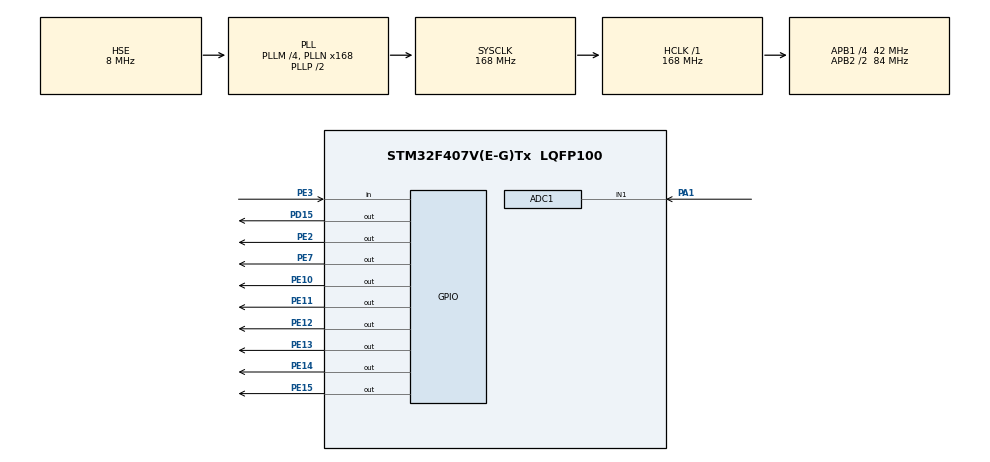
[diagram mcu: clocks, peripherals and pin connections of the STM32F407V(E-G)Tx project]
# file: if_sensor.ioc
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ADC1.Channel-2\#ChannelRegularConversion=ADC_CHANNEL_1
ADC1.NbrOfConversion=1
ADC1.NbrOfConversionFlag=1
ADC1.Rank-2\#ChannelRegularConversion=1
ADC1.SamplingTime-2\#ChannelRegularConversion=ADC_SAMPLETIME_3CYCLES
ADC1.master=1
Mcu.Family=STM32F4
Mcu.Name=STM32F407V(E-G)Tx
Mcu.Package=LQFP100
NVIC.ADC_IRQn=true\:0\:0\:false\:false\:true\:true\:true
NVIC.PriorityGroup=NVIC_PRIORITYGROUP_4
PA1.Signal=ADCx_IN1
PD15.Signal=GPIO_Output
PE10.GPIO_Speed=GPIO_SPEED_FREQ_MEDIUM
PE10.Signal=GPIO_Output
PE11.GPIO_Speed=GPIO_SPEED_FREQ_MEDIUM
PE11.Signal=GPIO_Output
PE12.GPIO_Speed=GPIO_SPEED_FREQ_MEDIUM
PE12.Signal=GPIO_Output
PE13.GPIO_Speed=GPIO_SPEED_FREQ_MEDIUM
PE13.Signal=GPIO_Output
PE14.GPIO_Speed=GPIO_SPEED_FREQ_MEDIUM
PE14.Signal=GPIO_Output
PE15.Signal=GPIO_Output
PE2.Signal=GPIO_Output
PE3.Signal=GPIO_Input
PE7.GPIO_Speed=GPIO_SPEED_FREQ_MEDIUM
PE7.Signal=GPIO_Output
PH0-OSC_IN.Mode=HSE-External-Oscillator
PH0-OSC_IN.Signal=RCC_OSC_IN
PH1-OSC_OUT.Mode=HSE-External-Oscillator
PH1-OSC_OUT.Signal=RCC_OSC_OUT
ProjectManager.HeapSize=0x200
ProjectManager.StackSize=0x400
ProjectManager.TargetToolchain=STM32CubeIDE
RCC.48MHZClocksFreq_Value=84000000
RCC.AHBFreq_Value=168000000
RCC.APB1CLKDivider=RCC_HCLK_DIV4
RCC.APB1Freq_Value=42000000
RCC.APB1TimFreq_Value=84000000
RCC.APB2CLKDivider=RCC_HCLK_DIV2
RCC.APB2Freq_Value=84000000
RCC.APB2TimFreq_Value=168000000
RCC.CortexFreq_Value=168000000
RCC.HCLKFreq_Value=168000000
RCC.HSE_VALUE=8000000
RCC.HSI_VALUE=16000000
RCC.LSE_VALUE=32768
RCC.PLLM=4
RCC.PLLN=168
RCC.PLLSourceVirtual=RCC_PLLSOURCE_HSE
RCC.SYSCLKFreq_VALUE=168000000
RCC.SYSCLKSource=RCC_SYSCLKSOURCE_PLLCLK
RCC.VCOOutputFreq_Value=336000000
SH.ADCx_IN1.0=ADC1_IN1,IN1
TIM6.AutoReloadPreload=TIM_AUTORELOAD_PRELOAD_ENABLE
TIM6.Prescaler=83
VP_TIM6_VS_ClockSourceINT.Mode=Enable_Timer
board=custom

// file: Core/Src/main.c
/* USER CODE BEGIN Header */
/**
  ******************************************************************************
  * @file           : main.c
  * @brief          : Main program body
  ******************************************************************************
  * @attention
  *
  * <h2><center>&copy; Copyright (c) 2021 STMicroelectronics.
  * All rights reserved.</center></h2>
  *
  * This software component is licensed by ST under BSD 3-Clause license,
  * the "License"; You may not use this file except in compliance with the
  * License. You may obtain a copy of the License at:
  *                        opensource.org/licenses/BSD-3-Clause
  *
  ******************************************************************************
  */
/* USER CODE END Header */
#include "main.h"

/* USER CODE BEGIN Includes */
#include "ir_sensor.h"
#include "acoustic_sensor.h"
#include "delay.h"
#include "lcd.h"
#include <string.h>
#include <stm32f4xx_hal.h>
/* USER CODE END Includes */

ADC_HandleTypeDef hadc1;

TIM_HandleTypeDef htim6;

/* USER CODE BEGIN PV */
volatile uint16_t u16_ir_dist = 0xFFFF;
volatile uint16_t u16_ac_dist = 0xFFFF;
/* USER CODE END PV */

void SystemClock_Config(void);
static void MX_GPIO_Init(void);
static void MX_ADC1_Init(void);
static void MX_TIM6_Init(void);

int main(void)
{

  /* MCU Configuration--------------------------------------------------------*/

  /* Reset of all peripherals, Initializes the Flash interface and the Systick. */
  HAL_Init();

  /* Configure the system clock */
  SystemClock_Config();

  /* Initialize all configured peripherals */
  MX_GPIO_Init();
  MX_ADC1_Init();
  MX_TIM6_Init();
  /* USER CODE BEGIN 2 */
  //ir_sensor_t obj_ir_sensor;
  //acoustic_sensor_t obj_ac_sensor;
  lcd_obj_t obj_lcd;
  delay_init(&htim6);
  //ir_sensor_init(&obj_ir_sensor, &hadc1);
  //ir_sensor_start(&obj_ir_sensor);
  //acoustic_sensor_init(&obj_ac_sensor, GPIOE, GPIO_PIN_2, GPIOE, GPIO_PIN_3);
  //acoustic_sensor_start(&obj_ac_sensor);
  lcd_init(&obj_lcd, GPIOE, GPIO_PIN_12, GPIO_PIN_13, GPIO_PIN_14, GPIO_PIN_15, GPIO_PIN_11, GPIO_PIN_10, GPIO_PIN_7);
  lcd_write_string(&obj_lcd, "Hello");
  uint32_t u32L_seconds_timer = delay_get_ms_tick();
  uint32_t u32L_10_times_per_seconds_timer = delay_get_ms_tick();
  uint32_t u32L_100_times_per_seconds_timer = delay_get_ms_tick();
  /* USER CODE END 2 */

  /* Infinite loop */
  /* USER CODE BEGIN WHILE */
  while (1)
  {
	//ir_sensor_run(&obj_ir_sensor);
	//acoustic_sensor_run(&obj_ac_sensor);
	lcd_run(&obj_lcd);
	uint32_t u32L_crnt_time = delay_get_ms_tick();

	if (u32L_crnt_time - u32L_100_times_per_seconds_timer > 10)
	{
		//ir_sensor_start(&obj_ir_sensor);
		u32L_100_times_per_seconds_timer = u32L_crnt_time;
	}

	if (u32L_crnt_time - u32L_10_times_per_seconds_timer > 100)
	{
		//ir_sensor_start(&obj_ir_sensor);
		//acoustic_sensor_start(&obj_ac_sensor);

		u32L_10_times_per_seconds_timer = u32L_crnt_time;
	}

	if (u32L_crnt_time - u32L_seconds_timer > 1000)
	{
		u32L_seconds_timer = u32L_crnt_time;

		//u16_ir_dist = ir_sensor_get_distance(&obj_ir_sensor);
		//u16_ac_dist = acoustic_sensor_get_distance(&obj_ac_sensor);
		HAL_GPIO_TogglePin(GPIOD, GPIO_PIN_15);
		lcd_write_string(&obj_lcd, "H");
	}
    /* USER CODE END WHILE */

  }
}

void SystemClock_Config(void)
{
  RCC_OscInitTypeDef RCC_OscInitStruct = {0};
  RCC_ClkInitTypeDef RCC_ClkInitStruct = {0};

  /** Configure the main internal regulator output voltage
  */
  __HAL_RCC_PWR_CLK_ENABLE();
  __HAL_PWR_VOLTAGESCALING_CONFIG(PWR_REGULATOR_VOLTAGE_SCALE1);
  /** Initializes the RCC Oscillators according to the specified parameters
  * in the RCC_OscInitTypeDef structure.
  */
  RCC_OscInitStruct.OscillatorType = RCC_OSCILLATORTYPE_HSE;
  RCC_OscInitStruct.HSEState = RCC_HSE_ON;
  RCC_OscInitStruct.PLL.PLLState = RCC_PLL_ON;
  RCC_OscInitStruct.PLL.PLLSource = RCC_PLLSOURCE_HSE;
  RCC_OscInitStruct.PLL.PLLM = 4;
  RCC_OscInitStruct.PLL.PLLN = 168;
  RCC_OscInitStruct.PLL.PLLP = RCC_PLLP_DIV2;
  RCC_OscInitStruct.PLL.PLLQ = 4;
  if (HAL_RCC_OscConfig(&RCC_OscInitStruct) != HAL_OK)
  {
    Error_Handler();
  }
  /** Initializes the CPU, AHB and APB buses clocks
  */
  RCC_ClkInitStruct.ClockType = RCC_CLOCKTYPE_HCLK|RCC_CLOCKTYPE_SYSCLK
                              |RCC_CLOCKTYPE_PCLK1|RCC_CLOCKTYPE_PCLK2;
  RCC_ClkInitStruct.SYSCLKSource = RCC_SYSCLKSOURCE_PLLCLK;
  RCC_ClkInitStruct.AHBCLKDivider = RCC_SYSCLK_DIV1;
  RCC_ClkInitStruct.APB1CLKDivider = RCC_HCLK_DIV4;
  RCC_ClkInitStruct.APB2CLKDivider = RCC_HCLK_DIV2;

  if (HAL_RCC_ClockConfig(&RCC_ClkInitStruct, FLASH_LATENCY_5) != HAL_OK)
  {
    Error_Handler();
  }
}

static void MX_ADC1_Init(void)
{

  ADC_ChannelConfTypeDef sConfig = {0};

  /** Configure the global features of the ADC (Clock, Resolution, Data Alignment and number of conversion)
  */
  hadc1.Instance = ADC1;
  hadc1.Init.ClockPrescaler = ADC_CLOCK_SYNC_PCLK_DIV4;
  hadc1.Init.Resolution = ADC_RESOLUTION_12B;
  hadc1.Init.ScanConvMode = DISABLE;
  hadc1.Init.ContinuousConvMode = DISABLE;
  hadc1.Init.DiscontinuousConvMode = DISABLE;
  hadc1.Init.ExternalTrigConvEdge = ADC_EXTERNALTRIGCONVEDGE_NONE;
  hadc1.Init.ExternalTrigConv = ADC_SOFTWARE_START;
  hadc1.Init.DataAlign = ADC_DATAALIGN_RIGHT;
  hadc1.Init.NbrOfConversion = 1;
  hadc1.Init.DMAContinuousRequests = DISABLE;
  hadc1.Init.EOCSelection = ADC_EOC_SINGLE_CONV;
  if (HAL_ADC_Init(&hadc1) != HAL_OK)
  {
    Error_Handler();
  }
  /** Configure for the selected ADC regular channel its corresponding rank in the sequencer and its sample time.
  */
  sConfig.Channel = ADC_CHANNEL_1;
  sConfig.Rank = 1;
  sConfig.SamplingTime = ADC_SAMPLETIME_3CYCLES;
  if (HAL_ADC_ConfigChannel(&hadc1, &sConfig) != HAL_OK)
  {
    Error_Handler();
  }

}

static void MX_TIM6_Init(void)
{

  TIM_MasterConfigTypeDef sMasterConfig = {0};

  htim6.Instance = TIM6;
  htim6.Init.Prescaler = 83;
  htim6.Init.CounterMode = TIM_COUNTERMODE_UP;
  htim6.Init.Period = 65535;
  htim6.Init.AutoReloadPreload = TIM_AUTORELOAD_PRELOAD_ENABLE;
  if (HAL_TIM_Base_Init(&htim6) != HAL_OK)
  {
    Error_Handler();
  }
  sMasterConfig.MasterOutputTrigger = TIM_TRGO_RESET;
  sMasterConfig.MasterSlaveMode = TIM_MASTERSLAVEMODE_DISABLE;
  if (HAL_TIMEx_MasterConfigSynchronization(&htim6, &sMasterConfig) != HAL_OK)
  {
    Error_Handler();
  }

}

static void MX_GPIO_Init(void)
{
  GPIO_InitTypeDef GPIO_InitStruct = {0};

  /* GPIO Ports Clock Enable */
  __HAL_RCC_GPIOE_CLK_ENABLE();
  __HAL_RCC_GPIOH_CLK_ENABLE();
  __HAL_RCC_GPIOA_CLK_ENABLE();
  __HAL_RCC_GPIOD_CLK_ENABLE();

  /*Configure GPIO pin Output Level */
  HAL_GPIO_WritePin(GPIOE, GPIO_PIN_2|GPIO_PIN_7|GPIO_PIN_10|GPIO_PIN_11
                          |GPIO_PIN_12|GPIO_PIN_13|GPIO_PIN_14|GPIO_PIN_15, GPIO_PIN_RESET);

  /*Configure GPIO pin Output Level */
  HAL_GPIO_WritePin(GPIOD, GPIO_PIN_15, GPIO_PIN_RESET);

  /*Configure GPIO pins : PE2 PE15 */
  GPIO_InitStruct.Pin = GPIO_PIN_2|GPIO_PIN_15;
  GPIO_InitStruct.Mode = GPIO_MODE_OUTPUT_PP;
  GPIO_InitStruct.Pull = GPIO_NOPULL;
  GPIO_InitStruct.Speed = GPIO_SPEED_FREQ_LOW;
  HAL_GPIO_Init(GPIOE, &GPIO_InitStruct);

  /*Configure GPIO pin : PE3 */
  GPIO_InitStruct.Pin = GPIO_PIN_3;
  GPIO_InitStruct.Mode = GPIO_MODE_INPUT;
  GPIO_InitStruct.Pull = GPIO_NOPULL;
  HAL_GPIO_Init(GPIOE, &GPIO_InitStruct);

  /*Configure GPIO pins : PE7 PE10 PE11 PE12
                           PE13 PE14 */
  GPIO_InitStruct.Pin = GPIO_PIN_7|GPIO_PIN_10|GPIO_PIN_11|GPIO_PIN_12
                          |GPIO_PIN_13|GPIO_PIN_14;
  GPIO_InitStruct.Mode = GPIO_MODE_OUTPUT_PP;
  GPIO_InitStruct.Pull = GPIO_NOPULL;
  GPIO_InitStruct.Speed = GPIO_SPEED_FREQ_MEDIUM;
  HAL_GPIO_Init(GPIOE, &GPIO_InitStruct);

  /*Configure GPIO pin : PD15 */
  GPIO_InitStruct.Pin = GPIO_PIN_15;
  GPIO_InitStruct.Mode = GPIO_MODE_OUTPUT_PP;
  GPIO_InitStruct.Pull = GPIO_NOPULL;
  GPIO_InitStruct.Speed = GPIO_SPEED_FREQ_LOW;
  HAL_GPIO_Init(GPIOD, &GPIO_InitStruct);

}

void Error_Handler(void)
{
  __disable_irq();
  while (1)
  {
  }
}

/************************ (C) COPYRIGHT STMicroelectronics *****END OF FILE****/
